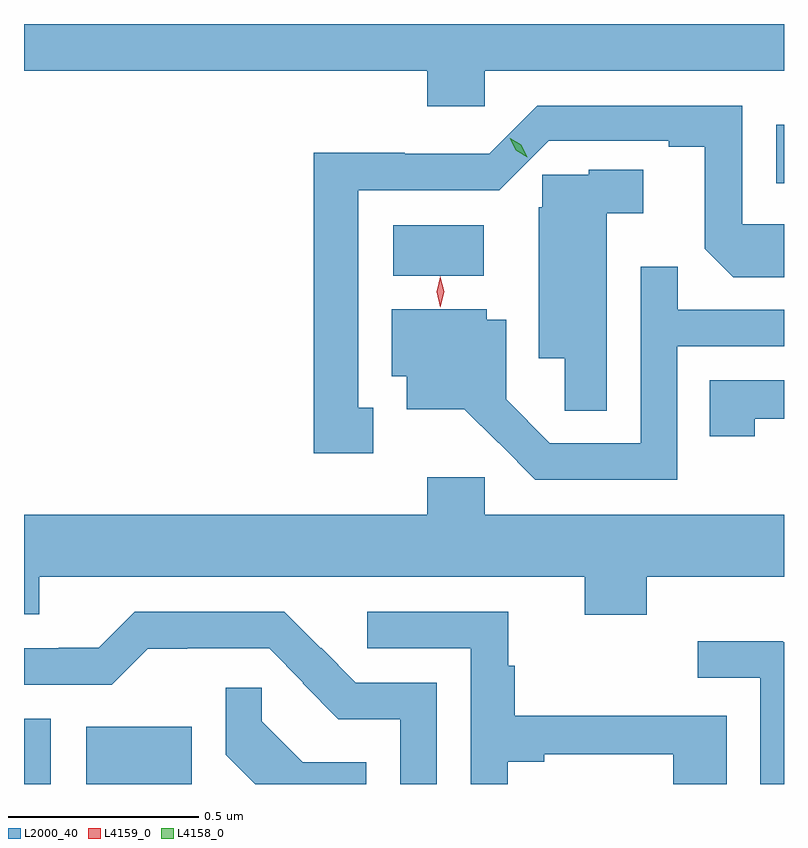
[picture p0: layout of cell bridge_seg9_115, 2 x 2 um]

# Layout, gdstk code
import gdstk
lib = gdstk.Library(unit=1e-6, precision=1e-09)
def R(c, l, rs):  # rectangles x0, y0, x1, y1
    for r in rs: c.add(gdstk.rectangle(r[:2], r[2:], *l))
def P(c, l, *ps):  # polygons
    for p in ps: c.add(gdstk.Polygon(p, *l))
L2000_40 = (2000, 40)
L4158_0 = (4158, 0)
L4159_0 = (4159, 0)

bridge_seg9_115 = lib.new_cell('bridge_seg9_115')
R(bridge_seg9_115, L2000_40, [(639.012,1174.563,639.082,1174.735), (639.176,1174.563,639.454,1174.714), (639.984,1175.9,640.222,1176.034), (640.991,1176.144,641.012,1176.298)])
P(bridge_seg9_115, L2000_40, [(640.224,1176.44),(641.012,1176.44),(641.012,1176.563),(639.012,1176.563),(639.012,1176.44),(640.073,1176.44),(640.073,1176.347),(640.224,1176.347)],
  [(639.931,1175.553),(639.892,1175.553),(639.892,1176.126),(640.263,1176.126),(640.393,1176.256),(640.709,1176.256),(640.709,1176.24),(640.803,1176.24),(640.803,1175.972),(640.879,1175.896),(641.012,1175.896),(641.012,1176.036),(640.902,1176.036),(640.902,1176.348),(640.362,1176.348),(640.236,1176.222),(640.014,1176.222),(640.014,1176.224),(639.774,1176.224),(639.774,1175.433),(639.931,1175.433)],
  [(640.546,1176.065),(640.642,1176.065),(640.642,1176.18),(640.498,1176.18),(640.498,1176.166),(640.376,1176.166),(640.376,1176.081),(640.366,1176.081),(640.366,1175.684),(640.435,1175.684),(640.435,1175.545),(640.546,1175.545)],
  [(640.731,1175.715),(641.012,1175.715),(641.012,1175.811),(640.733,1175.811),(640.733,1175.924),(640.635,1175.924),(640.635,1175.46),(640.395,1175.46),(640.281,1175.575),(640.281,1175.785),(640.23,1175.785),(640.23,1175.812),(639.98,1175.812),(639.98,1175.636),(640.019,1175.636),(640.019,1175.549),(640.171,1175.549),(640.26,1175.461),(640.261,1175.461),(640.358,1175.364),(640.731,1175.364)],
  [(640.935,1175.524),(641.012,1175.524),(641.012,1175.625),(640.816,1175.625),(640.816,1175.478),(640.935,1175.478)],
  [(640.651,1175.108),(641.012,1175.108),(641.012,1175.272),(640.224,1175.272),(640.224,1175.37),(640.073,1175.37),(640.073,1175.272),(639.012,1175.272),(639.012,1175.01),(639.052,1175.01),(639.052,1175.108),(640.487,1175.108),(640.487,1175.009),(640.651,1175.009)],
  [(640.285,1174.621),(640.381,1174.621),(640.381,1174.641),(640.721,1174.641),(640.721,1174.563),(640.861,1174.563),(640.861,1174.742),(640.304,1174.742),(640.304,1174.874),(640.286,1174.874),(640.286,1175.016),(639.915,1175.016),(639.915,1174.92),(640.188,1174.92),(640.188,1174.563),(640.285,1174.563)],
  [(640.098,1174.83),(639.885,1174.83),(639.794,1174.921),(639.793,1174.92),(639.697,1175.016),(639.303,1175.016),(639.209,1174.922),(639.104,1174.922),(639.104,1174.92),(639.012,1174.92),(639.012,1174.824),(639.243,1174.824),(639.338,1174.919),(639.442,1174.919),(639.442,1174.92),(639.657,1174.92),(639.747,1174.83),(639.745,1174.828),(639.839,1174.734),(640.002,1174.734),(640.002,1174.563),(640.098,1174.563)],
  [(641.012,1174.936),(641.009,1174.939),(640.785,1174.939),(640.785,1174.842),(640.95,1174.842),(640.95,1174.563),(641.012,1174.563)],
  [(639.912,1174.62),(639.746,1174.62),(639.638,1174.728),(639.638,1174.816),(639.543,1174.816),(639.543,1174.64),(639.62,1174.563),(639.912,1174.563)])
P(bridge_seg9_115, L4158_0, [(640.336,1176.213),(640.306,1176.231),(640.29,1176.263),(640.29,1176.263),(640.291,1176.263),(640.321,1176.245),(640.336,1176.213),(640.336,1176.213)])
P(bridge_seg9_115, L4159_0, [(640.107,1175.817),(640.098,1175.858),(640.108,1175.898),(640.108,1175.899),(640.108,1175.898),(640.118,1175.858),(640.108,1175.817),(640.108,1175.817)])

lib.write_gds('bridge_seg9_115.gds')
